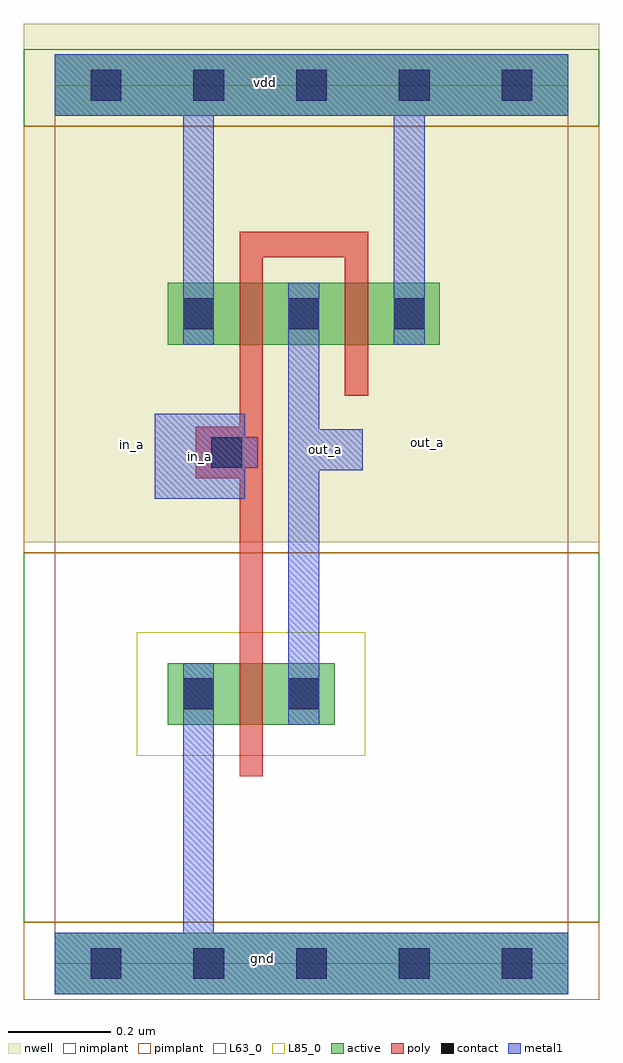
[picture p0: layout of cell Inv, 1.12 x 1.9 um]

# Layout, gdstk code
from math import pi, radians
import gdstk
lib = gdstk.Library(unit=1e-6, precision=5e-10)
def R(c, l, rs):  # rectangles x0, y0, x1, y1
    for r in rs: c.add(gdstk.rectangle(r[:2], r[2:], *l))
def A(c, l, x, y, w, h, nx, ny, dx, dy):  # array of equal rectangles
    R(c, l, [(x+i*dx, y+j*dy, x+i*dx+w, y+j*dy+h) for i in range(nx) for j in range(ny)])
active = (1, 0)
nwell = (2, 0)
poly = (3, 0)
nimplant = (4, 0)
pimplant = (5, 0)
contact = (6, 0)
metal1 = (7, 0)
L63_0 = (63, 0)
L85_0 = (85, 0)

celltmpl_cdns_2 = lib.new_cell('cellTmpl_CDNS_2')
R(celltmpl_cdns_2, active, [(0,-0.06,1,0.06), (0,1.65,1,1.77)])
R(celltmpl_cdns_2, nwell, [(-0.06,0.82,1.06,1.83)])
R(celltmpl_cdns_2, nimplant, [(-0.06,0.08,1.06,0.8), (-0.06,1.63,1.06,1.78)])
R(celltmpl_cdns_2, pimplant, [(-0.06,-0.07,1.06,0.08), (-0.06,0.8,1.06,1.63)])
A(celltmpl_cdns_2, contact, 0.07, -0.03, 0.06, 0.06, 5, 2, 0.2, 1.71)
R(celltmpl_cdns_2, L63_0, [(0,0,1,1.71)])
celltmpl_cdns_2.add(gdstk.FlexPath([(0,1.71),(1,1.71)], 0.12, ends="flush", simple_path=True, layer=7, datatype=0))  # metal1
celltmpl_cdns_2.add(gdstk.FlexPath([(0,0),(1,0)], 0.12, ends="flush", simple_path=True, layer=7, datatype=0))  # metal1

pmos1v_cdns_3 = lib.new_cell('pmos1v_CDNS_3')
R(pmos1v_cdns_3, active, [(-0.14,0,0,0.12), (0,0,0.045,0.12), (0.045,0,0.205,0.12), (0.205,0,0.25,0.12), (0.25,0,0.39,0.12)])
R(pmos1v_cdns_3, nwell, [(-0.2,-0.06,0.45,0.18)])
R(pmos1v_cdns_3, poly, [(0,-0.1,0.045,-0.05), (0.205,-0.1,0.25,-0.05), (0,-0.05,0.045,0), (0.205,-0.05,0.25,0), (0,0,0.045,0.12), (0.205,0,0.25,0.12), (0,0.12,0.045,0.17), (0.205,0.12,0.25,0.17), (0,0.17,0.045,0.22), (0.205,0.17,0.25,0.22)])
R(pmos1v_cdns_3, pimplant, [(-0.1,-0.1,0.35,0.22), (-0.21,-0.07,0.46,0.19)])
A(pmos1v_cdns_3, contact, -0.11, 0.03, 0.06, 0.06, 3, 1, 0.205, 0)
A(pmos1v_cdns_3, metal1, -0.11, 0, 0.06, 0.12, 3, 1, 0.205, 0)
pmos1v_cdns_3.add(gdstk.Label('S_source_2', (0.32,0.06), layer=1, texttype=0))
pmos1v_cdns_3.add(gdstk.Label('S_source_0', (-0.07,0.06), layer=1, texttype=0))
pmos1v_cdns_3.add(gdstk.Label('G_gate_2', (0.2275,-0.075), layer=3, texttype=0))
pmos1v_cdns_3.add(gdstk.Label('G_gate_2', (0.2275,0.195), layer=3, texttype=0))
pmos1v_cdns_3.add(gdstk.Label('G_gate_1', (0.0225,-0.075), layer=3, texttype=0))
pmos1v_cdns_3.add(gdstk.Label('G_gate_1', (0.0225,0.195), layer=3, texttype=0))
pmos1v_cdns_3.add(gdstk.Label('S_source_2', (0.33,0.06), layer=7, texttype=0))
pmos1v_cdns_3.add(gdstk.Label('D_drain_1', (0.125,0.06), layer=7, texttype=0))
pmos1v_cdns_3.add(gdstk.Label('S_source_0', (-0.08,0.06), layer=7, texttype=0))
pmos1v_cdns_3.add(gdstk.Label('B', (0.125,0.06), layer=2, texttype=0))

nmos1v_cdns_4 = lib.new_cell('nmos1v_CDNS_4')
R(nmos1v_cdns_4, active, [(-0.14,0,0,0.12), (0,0,0.045,0.12), (0.045,0,0.185,0.12)])
R(nmos1v_cdns_4, poly, [(0,-0.1,0.045,-0.05), (0,-0.05,0.045,0), (0,0,0.045,0.12), (0,0.12,0.045,0.17), (0,0.17,0.045,0.22)])
R(nmos1v_cdns_4, nimplant, [(-0.1,-0.1,0.145,0.22), (-0.21,-0.07,0.255,0.19)])
R(nmos1v_cdns_4, contact, [(-0.11,0.03,-0.05,0.09), (0.095,0.03,0.155,0.09)])
R(nmos1v_cdns_4, metal1, [(-0.11,0,-0.05,0.12), (0.095,0,0.155,0.12)])
R(nmos1v_cdns_4, L85_0, [(-0.2,-0.06,0.245,0.18)])
nmos1v_cdns_4.add(gdstk.Label('D_drain_1', (0.115,0.06), layer=1, texttype=0))
nmos1v_cdns_4.add(gdstk.Label('S_source_0', (-0.07,0.06), layer=1, texttype=0))
nmos1v_cdns_4.add(gdstk.Label('G_gate_1', (0.0225,-0.075), layer=3, texttype=0))
nmos1v_cdns_4.add(gdstk.Label('G_gate_1', (0.0225,0.195), layer=3, texttype=0))
nmos1v_cdns_4.add(gdstk.Label('D_drain_1', (0.125,0.06), layer=7, texttype=0))
nmos1v_cdns_4.add(gdstk.Label('S_source_0', (-0.08,0.06), layer=7, texttype=0))
nmos1v_cdns_4.add(gdstk.Label('B', (0.0225,0.06), layer=85, texttype=0))

m1_po_cdns_1 = lib.new_cell('M1_PO_CDNS_1')
R(m1_po_cdns_1, poly, [(-0.05,-0.06,0.05,0.06)])
R(m1_po_cdns_1, contact, [(-0.03,-0.03,0.03,0.03)])
R(m1_po_cdns_1, metal1, [(-0.03,-0.06,0.03,0.06)])

inv = lib.new_cell('Inv')
R(inv, poly, [(0.345,0.685,0.39,1.105), (0.39,1.375,0.55,1.425)])
R(inv, metal1, [(0.335,-0.055,0.435,0.035), (0.235,0.025,0.295,0.465), (0.44,0.585,0.5,1.205), (0.18,0.905,0.355,1.07), (0.44,0.96,0.585,1.04), (0.235,1.325,0.295,1.68), (0.645,1.325,0.705,1.68), (0.325,1.665,0.44,1.745)])
inv.add(gdstk.Reference(celltmpl_cdns_2, (-0.015,0)))
inv.add(gdstk.Reference(pmos1v_cdns_3, (0.345,1.205)))
inv.add(gdstk.Reference(nmos1v_cdns_4, (0.345,0.465)))
inv.add(gdstk.Reference(m1_po_cdns_1, (0.32,0.995), rotation=pi/2))
inv.add(gdstk.Label('out_a', (0.71,1.015), layer=63, texttype=0))
inv.add(gdstk.Label('in_a', (0.135,1.01), layer=63, texttype=0))
inv.add(gdstk.Label('gnd', (0.39,0.01), layer=63, texttype=0))
inv.add(gdstk.Label('vdd', (0.395,1.715), layer=63, texttype=0))
inv.add(gdstk.Label('out_a', (0.5125,1), layer=7, texttype=0))
inv.add(gdstk.Label('in_a', (0.2675,0.9875), layer=7, texttype=0))
inv.add(gdstk.Label('gnd', (0.385,-0.01), layer=7, texttype=0))
inv.add(gdstk.Label('vdd', (0.3825,1.705), layer=7, texttype=0))

lib.write_gds('Inv.gds')
